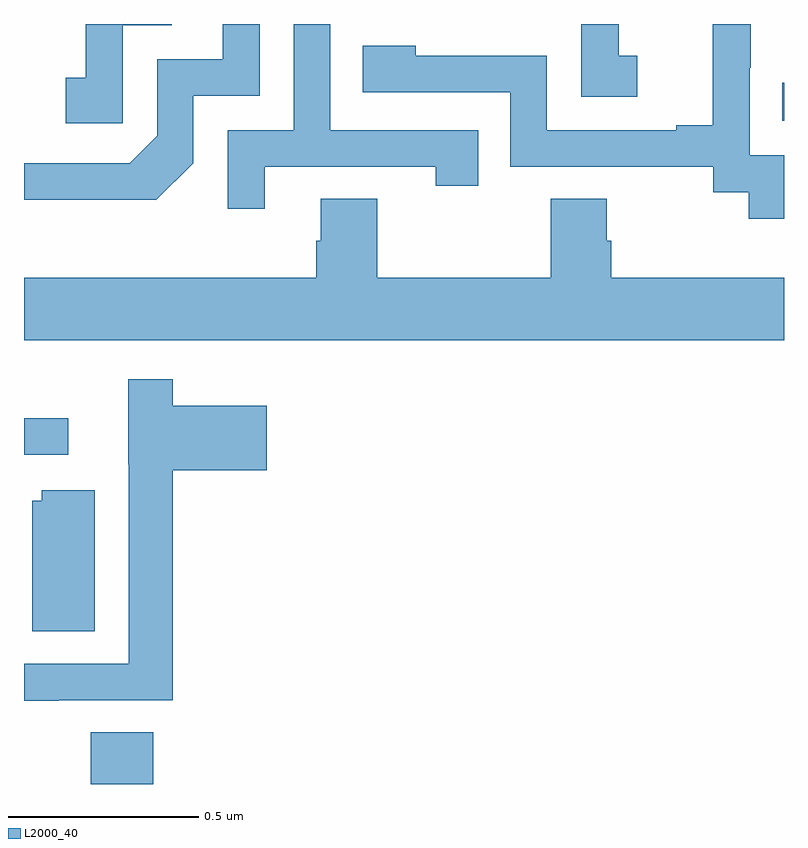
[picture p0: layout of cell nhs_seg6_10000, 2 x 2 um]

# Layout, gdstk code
import gdstk
lib = gdstk.Library(unit=1e-6, precision=1e-09)
def R(c, l, rs):  # rectangles x0, y0, x1, y1
    for r in rs: c.add(gdstk.rectangle(r[:2], r[2:], *l))
def P(c, l, *ps):  # polygons
    for p in ps: c.add(gdstk.Polygon(p, *l))
L2000_40 = (2000, 40)

nhs_seg6_10000 = lib.new_cell('nhs_seg6_10000')
R(nhs_seg6_10000, L2000_40, [(241.175,947.5,241.34,947.636), (241,948.366,241.117,948.463), (242.995,949.245,243,949.346)])
P(nhs_seg6_10000, L2000_40, [(241.446,949.134),(241.446,949.311),(241.62,949.311),(241.62,949.5),(241.523,949.5),(241.523,949.407),(241.35,949.407),(241.35,949.206),(241.278,949.134),(241,949.134),(241,949.037),(241.348,949.037)],
  [(243,949.155),(242.91,949.155),(242.91,949.385),(242.912,949.385),(242.912,949.5),(242.813,949.5),(242.813,949.234),(242.717,949.234),(242.717,949.221),(242.376,949.221),(242.376,949.416),(242.031,949.416),(242.031,949.443),(241.891,949.443),(241.891,949.32),(242.28,949.32),(242.28,949.125),(242.814,949.125),(242.814,949.057),(242.907,949.057),(242.907,948.987),(243,948.987)],
  [(241.633,949.125),(242.084,949.125),(242.084,949.074),(242.195,949.074),(242.195,949.221),(241.806,949.221),(241.806,949.5),(241.71,949.5),(241.71,949.221),(241.536,949.221),(241.536,949.014),(241.633,949.014)],
  [(242.614,949.417),(242.565,949.417),(242.565,949.5),(242.466,949.5),(242.466,949.308),(242.614,949.308)],
  [(241.26,949.497),(241.389,949.497),(241.389,949.5),(241.163,949.5),(241.163,949.359),(241.11,949.359),(241.11,949.239),(241.26,949.239)],
  [(243,948.832),(242.546,948.832),(242.546,948.93),(242.533,948.93),(242.533,949.04),(242.386,949.04),(242.386,948.832),(241.929,948.832),(241.929,949.04),(241.781,949.04),(241.781,948.93),(241.769,948.93),(241.769,948.832),(241,948.832),(241,948.668),(243,948.668)],
  [(241.091,947.721),(241.391,947.721),(241.391,948.326),(241.639,948.326),(241.639,948.496),(241.391,948.496),(241.391,948.565),(241.274,948.565),(241.274,948.342),(241.275,948.342),(241.275,947.817),(241,947.817),(241,947.719),(241.091,947.719)],
  [(241.186,948.273),(241.047,948.273),(241.047,948.246),(241.022,948.246),(241.022,947.902),(241.186,947.902)])

lib.write_gds('nhs_seg6_10000.gds')
